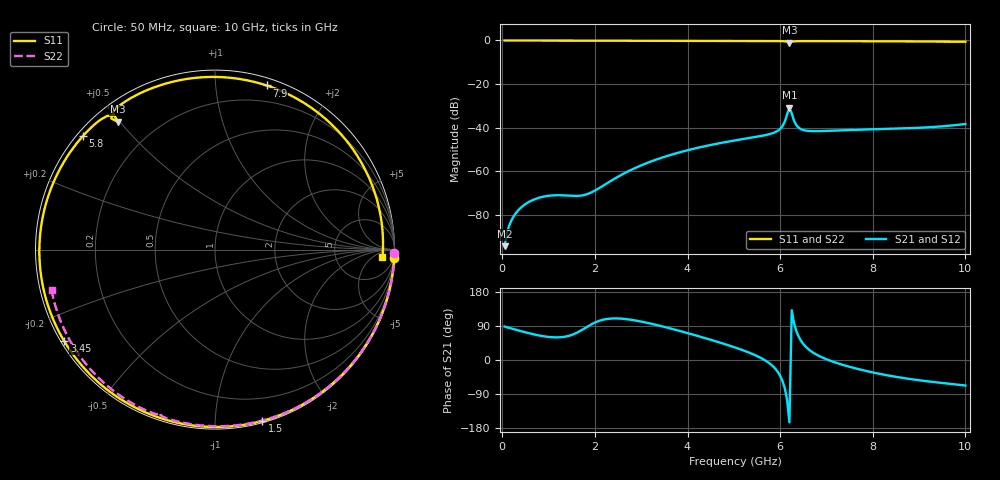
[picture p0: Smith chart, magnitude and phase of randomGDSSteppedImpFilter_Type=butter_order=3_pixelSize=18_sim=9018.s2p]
! freq	dB(S11)	phase(S11)	dB(S12)	phase(S12)
!  dB(S21)	phase(S21)	dB(S22)	phase(S22)
!S-par simulation data
#  GHz  S  DB  R 50
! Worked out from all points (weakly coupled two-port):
!   200 points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, 50 MHz to 10 GHz, reference 50 ohm
!   highest |S21| = -30.82 dB at 6.2 GHz (marker M1); lowest = -94.2 dB at 50 MHz (marker M2)
!   lowest |S11| = -1.0 dB at 6.2 GHz (marker M3), VSWR 18.07, Z = 3.44 + j24.7 ohm
!   |S11| at or under -10 dB: nowhere
!   |S22| runs from -0.6 to 0.0 dB; largest |S21 - S12| = 0
!   S11 on the Smith chart (normalised r, x): 50 MHz: 0, -43; 1.5 GHz: 0.01, -1.31; 3.45 GHz: 0.01, -0.28; 5.8 GHz: 0.02, +0.37; 7.9 GHz: 0.06, +1.36; 10 GHz: 20, -14
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0.05  -0.00 -2.7  -94.24 88.2  -94.24 88.2  -0.00 -1.0
0.25  -0.02 -13.2  -80.43 81.3  -80.43 81.3  -0.01 -4.8
0.5  -0.04 -26.1  -74.95 73.0  -74.95 73.0  -0.01 -9.6
0.8  -0.05 -41.4  -72.01 64.6  -72.01 64.6  -0.02 -15.3
1.5  -0.09 -74.6  -71.19 66.1  -71.19 66.1  -0.04 -28.5
1.75  -0.10 -85.5  -70.89 81.5  -70.89 81.5  -0.04 -33.1
2.5  -0.12 -115.5  -62.41 109.6  -62.41 109.6  -0.06 -46.8
3.4  -0.15 -147.0  -54.02 90.4  -54.02 90.4  -0.08 -62.8
3.45  -0.15 -148.7  -53.67 88.9  -53.67 88.9  -0.09 -63.6
4.25  -0.18 -173.9  -49.03 62.4  -49.03 62.4  -0.11 -77.2
5.05  -0.22 162.0  -45.71 32.1  -45.71 32.1  -0.14 -90.4
5.8  -0.26 139.2  -42.74 -11.8  -42.74 -11.8  -0.18 -102.3
6.05  -0.32 130.9  -39.23 -55.1  -39.23 -55.1  -0.20 -106.4
6.2  -0.96 127.3  -30.82 -164.9  -30.82 -164.9  -0.35 -108.5
6.3  -0.41 126.3  -36.79 97.0  -36.79 97.0  -0.24 -109.6
6.4  -0.32 122.4  -39.97 61.7  -39.97 61.7  -0.22 -111.3
6.7  -0.30 112.4  -41.53 20.4  -41.53 20.4  -0.23 -116.0
7.3  -0.33 92.8  -41.19 -10.9  -41.19 -10.9  -0.27 -125.1
7.9  -0.37 72.6  -40.77 -30.1  -40.77 -30.1  -0.32 -134.1
8.35  -0.40 56.9  -40.51 -41.2  -40.51 -41.2  -0.36 -140.9
9.2  -0.47 26.4  -39.79 -56.5  -39.79 -56.5  -0.45 -153.7
10  -0.59 -2.6  -38.28 -67.3  -38.28 -67.3  -0.55 -166.1
